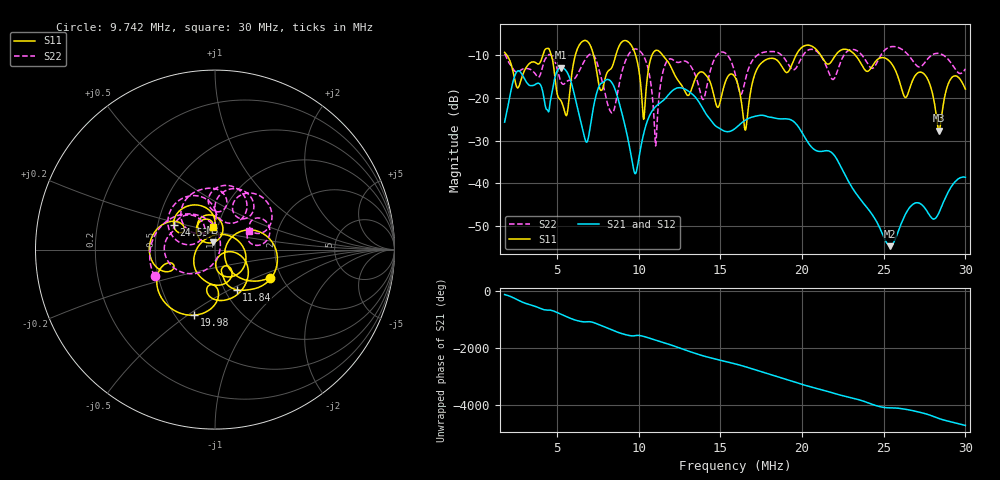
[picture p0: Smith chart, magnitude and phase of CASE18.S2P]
!Agilent Technologies,E5061B,MY49101568,A.02.00
!Date: Wed Mar 01 16:38:22 2023
!Data & Calibration Information:
!Freq	S11:SOLT2(OFF)	S21:SOLT2(OFF)	S12:SOLT2(OFF)	S22:SOLT2(OFF)
# Hz S dB R 50
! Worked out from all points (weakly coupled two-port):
!   1155 points, 1.8 MHz to 30 MHz, reference 50 ohm
!   highest |S21| = -13.00 dB at 5.27 MHz (marker M1); lowest = -54.6 dB at 25.38 MHz (marker M2)
!   lowest |S11| = -27.7 dB at 28.39 MHz (marker M3), VSWR 1.09, Z = 48.7 + j3.87 ohm
!   |S11| at or under -10 dB: 1.917 MHz to 4.146 MHz (2.229 MHz wide, 73.5 % of centre); 11.45 MHz to 19.65 MHz (8.201 MHz wide, 52.7 % of centre); 23.24 MHz to end of sweep (the widest 3 of 7)
!   |S22| runs from -31.2 to -8.1 dB; largest |S21 - S12| = 0.0029
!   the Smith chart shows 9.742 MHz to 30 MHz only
!   S11 on the Smith chart (normalised r, x): 9.742 MHz: 1.74, -0.62; 11.84 MHz: 1.13, -0.54; 19.98 MHz: 0.62, -0.53; 24.53 MHz: 0.61, +0.18; 30 MHz: 0.95, +0.24
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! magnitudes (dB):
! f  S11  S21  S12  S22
! 1.8 MHz  -9.5  -25.7  -25.7  -9.8
! 2.631 MHz  -17.7  -13.7  -13.7  -14.0
! 4.464 MHz  -8.5  -23.2  -23.1  -10.2
! 5.27 MHz  -20.9  -13.0  -13.0  -16.5
! 6.516 MHz  -7.1  -26.5  -26.3  -12.6
! 8.251 MHz  -13.5  -16.0  -16.0  -23.0
! 9.742 MHz  -9.3  -37.4  -37.4  -8.7
! 10.3 MHz  -25.1  -28.5  -28.6  -10.3
! 11.21 MHz  -9.1  -21.5  -21.5  -21.6
! 11.84 MHz  -11.9  -19.3  -19.4  -11.1
! 14.85 MHz  -22.3  -26.9  -27.0  -9.9
! 15.9 MHz  -15.2  -27.2  -27.3  -14.3
! 16.54 MHz  -27.6  -25.2  -25.3  -15.8
! 17.39 MHz  -12.5  -24.2  -24.2  -9.8
! 19.98 MHz  -8.3  -28.0  -28.0  -10.7
! 20.62 MHz  -8.0  -31.6  -31.6  -8.8
! 24.53 MHz  -11.5  -48.6  -48.5  -12.3
! 25.31 MHz  -11.3  -54.4  -54.5  -8.3
! 25.38 MHz  -11.6  -54.6  -54.6  -8.2
! 27.56 MHz  -14.9  -45.9  -45.9  -11.6
! 28.39 MHz  -27.7  -46.8  -46.7  -9.7
! 30 MHz  -18.0  -38.6  -38.5  -13.3
